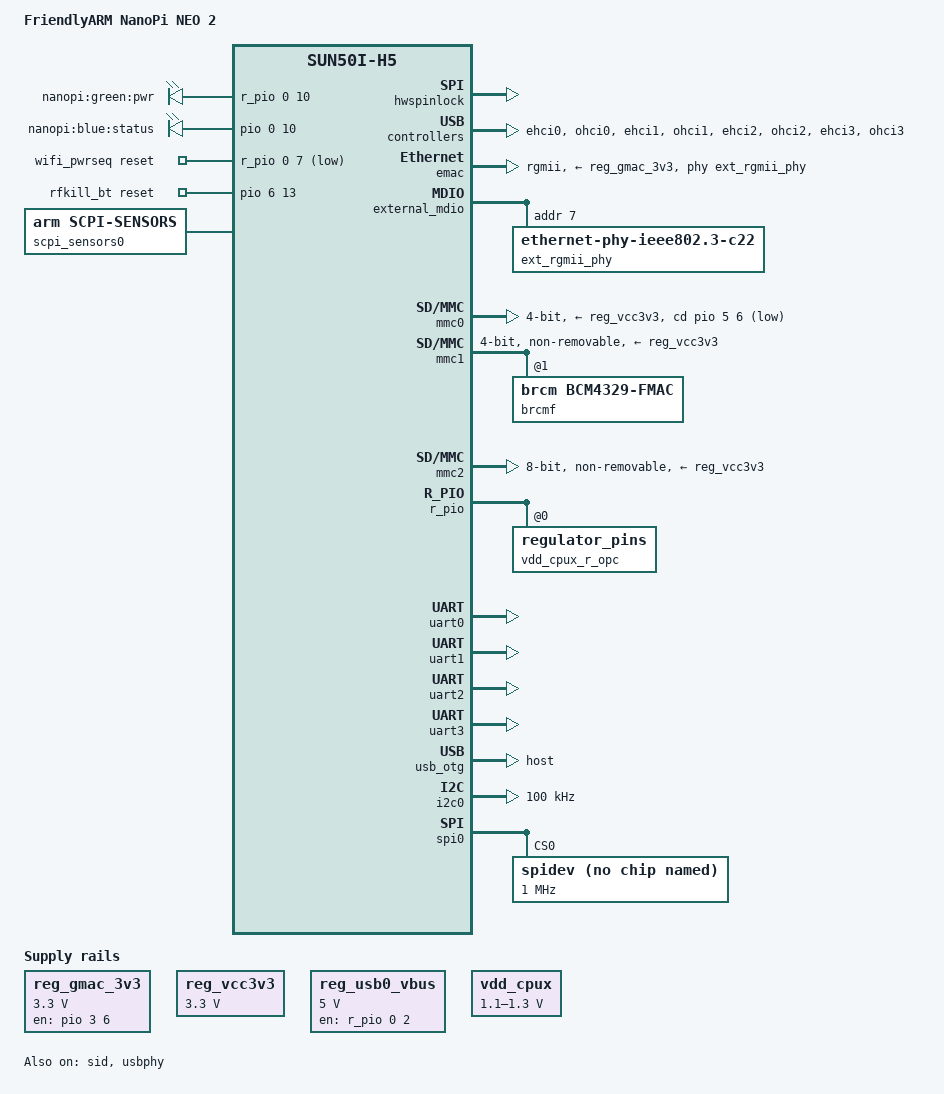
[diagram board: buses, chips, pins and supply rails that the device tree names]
/*
 * Copyright (C) 2017 Icenowy Zheng <icenowy@aosc.io>
 *
 * This file is dual-licensed: you can use it either under the terms
 * of the GPL or the X11 license, at your option. Note that this dual
 * licensing only applies to this file, and not this project as a
 * whole.
 *
 *  a) This file is free software; you can redistribute it and/or
 *     modify it under the terms of the GNU General Public License as
 *     published by the Free Software Foundation; either version 2 of the
 *     License, or (at your option) any later version.
 *
 *     This file is distributed in the hope that it will be useful,
 *     but WITHOUT ANY WARRANTY; without even the implied warranty of
 *     MERCHANTABILITY or FITNESS FOR A PARTICULAR PURPOSE.  See the
 *     GNU General Public License for more details.
 *
 * Or, alternatively,
 *
 *  b) Permission is hereby granted, free of charge, to any person
 *     obtaining a copy of this software and associated documentation
 *     files (the "Software"), to deal in the Software without
 *     restriction, including without limitation the rights to use,
 *     copy, modify, merge, publish, distribute, sublicense, and/or
 *     sell copies of the Software, and to permit persons to whom the
 *     Software is furnished to do so, subject to the following
 *     conditions:
 *
 *     The above copyright notice and this permission notice shall be
 *     included in all copies or substantial portions of the Software.
 *
 *     THE SOFTWARE IS PROVIDED "AS IS", WITHOUT WARRANTY OF ANY KIND,
 *     EXPRESS OR IMPLIED, INCLUDING BUT NOT LIMITED TO THE WARRANTIES
 *     OF MERCHANTABILITY, FITNESS FOR A PARTICULAR PURPOSE AND
 *     NONINFRINGEMENT. IN NO EVENT SHALL THE AUTHORS OR COPYRIGHT
 *     HOLDERS BE LIABLE FOR ANY CLAIM, DAMAGES OR OTHER LIABILITY,
 *     WHETHER IN AN ACTION OF CONTRACT, TORT OR OTHERWISE, ARISING
 *     FROM, OUT OF OR IN CONNECTION WITH THE SOFTWARE OR THE USE OR
 *     OTHER DEALINGS IN THE SOFTWARE.
 */

/dts-v1/;
#include "sun50i-h5.dtsi"

#include <dt-bindings/gpio/gpio.h>
#include <dt-bindings/input/input.h>
#include <dt-bindings/thermal/thermal.h>

/ {
	model = "FriendlyARM NanoPi NEO 2";
	compatible = "friendlyarm,nanopi-neo2", "allwinner,sun50i-h5";

	aliases {
		ethernet0 = &emac;
		serial0 = &uart0;
		serial2 = &uart2;
                serial3 = &uart3;
		i2c0 = &i2c0;
                spi0 = &spi0;
		mmc0 = &mmc0;
		mmc1 = &mmc1;
                mmc2 = &mmc2;
	};

	cpu_opp_table: opp_table {
                compatible = "operating-points-v2";
                opp-shared;

                opp@408000000 {
                        opp-hz = /bits/ 64 <408000000>;
                        opp-microvolt = <1100000>;
                        clock-latency-ns = <244144>; /* 8 32k periods */
                };

                opp@648000000 {
                        opp-hz = /bits/ 64 <648000000>;
                        opp-microvolt = <1100000>;
                        clock-latency-ns = <244144>; /* 8 32k periods */
                };

                opp@816000000 {
                        opp-hz = /bits/ 64 <816000000>;
                        opp-microvolt = <1100000>;
                        clock-latency-ns = <244144>; /* 8 32k periods */
                };

                opp@912000000 {
                       opp-hz = /bits/ 64 <912000000>;
                       opp-microvolt = <1100000>;
                       clock-latency-ns = <244144>; /* 8 32k periods */
                };

                opp@960000000 {
                       opp-hz = /bits/ 64 <960000000>;
                       opp-microvolt = <1100000>;
                       clock-latency-ns = <244144>; /* 8 32k periods */
                };

                opp@1008000000 {
                       opp-hz = /bits/ 64 <1008000000>;
                       opp-microvolt = <1100000>;
                       clock-latency-ns = <244144>; /* 8 32k periods */
                };

		opp@1056000000 {
                       opp-hz = /bits/ 64 <1056000000>;
                       opp-microvolt = <1300000>;
                       clock-latency-ns = <244144>; /* 8 32k periods */
                };

                opp@1104000000 {
                       opp-hz = /bits/ 64 <1104000000>;
                       opp-microvolt = <1300000>;
                       clock-latency-ns = <244144>; /* 8 32k periods */
                };

                opp@1152000000 {
                       opp-hz = /bits/ 64 <1152000000>;
                       opp-microvolt = <1300000>;
                       clock-latency-ns = <244144>; /* 8 32k periods */
                };

		opp@1200000000 {
                       opp-hz = /bits/ 64 <1200000000>;
                       opp-microvolt = <1300000>;
                       clock-latency-ns = <244144>; /* 8 32k periods */
                };

        };

	chosen {
		stdout-path = "serial0:115200n8";
	};

	leds {
		compatible = "gpio-leds";

		pwr {
			label = "nanopi:green:pwr";
			gpios = <&r_pio 0 10 GPIO_ACTIVE_HIGH>;
			default-state = "on";
		};

		status {
			label = "nanopi:blue:status";
			gpios = <&pio 0 10 GPIO_ACTIVE_HIGH>;
			linux,default-trigger = "heartbeat";
		};
	};

	hwprnd: hwprnd@0 {
                compatible = "crypto-api-prng";
                cra_driver_name="sun8i_ce_rng";
        };

	reg_gmac_3v3: gmac-3v3 {
		compatible = "regulator-fixed";
		regulator-name = "gmac-3v3";
		regulator-min-microvolt = <3300000>;
		regulator-max-microvolt = <3300000>;
		startup-delay-us = <100000>;
		enable-active-high;
		gpio = <&pio 3 6 GPIO_ACTIVE_HIGH>;
	};

	reg_vcc3v3: vcc3v3 {
		compatible = "regulator-fixed";
		regulator-name = "vcc3v3";
		regulator-min-microvolt = <3300000>;
		regulator-max-microvolt = <3300000>;
	};

	reg_usb0_vbus: usb0-vbus {
		compatible = "regulator-fixed";
		regulator-name = "usb0-vbus";
		regulator-min-microvolt = <5000000>;
		regulator-max-microvolt = <5000000>;
		enable-active-high;
		gpio = <&r_pio 0 2 GPIO_ACTIVE_HIGH>; /* PL2 */
		status = "okay";
	};

	wifi_pwrseq: wifi_pwrseq {
                compatible = "mmc-pwrseq-simple";
                pinctrl-names = "default";
                reset-gpios = <&r_pio 0 7 GPIO_ACTIVE_LOW>; /* PL7 */
                post-power-on-delay-ms = <200>;
        };

	rfkill_bt {
                compatible = "rfkill-gpio";
                pinctrl-names = "default";
                pinctrl-0 = <&bt_pwr_pin>;
                reset-gpios = <&pio 6 13 GPIO_ACTIVE_HIGH>; /* PG13 */
                clocks = <&osc32k>;
                clock-frequency = <32768>;
                rfkill-name = "sunxi-bt";
                rfkill-type = "bluetooth";
        };

	vdd_cpux: vdd_cpux_regulator {
                compatible = "regulator-gpio";

                pinctrl-names = "default";
                pinctrl-0 = <&vdd_cpux_r_opc>;

                regulator-name = "vdd-cpux";
                regulator-type = "voltage";
                regulator-boot-on;
                regulator-always-on;
                regulator-min-microvolt = <1100000>;
                regulator-max-microvolt = <1300000>;
                regulator-ramp-delay = <50>; /* 4ms */

                gpios = <&r_pio 0 6 GPIO_ACTIVE_HIGH>;
                gpios-states = <0x1>;
                states = <1100000 0x0
                          1300000 0x1>;
        };

	mailbox0: mbox@0 {
                compatible = "arm,smc-mbox";
                #mbox-cells = <1>;
                arm,smc-func-ids = <0x82000001>, <0x82000002>;
                method = "smc";
        };

        sram: sram@10000{
                compatible = "mmio-sram";
                reg = <0x10000 0x8000>;

                #address-cells = <1>;
                #size-cells = <1>;
                ranges = <0 0x10000 0x8000>;

                cpu_scp_mem: scp-shmem@7e00 {
                        compatible = "mmio-sram";
                        reg = <0x7e00 0x200>;
			export;
	        };
	};

        scpi_sensors0: sensors {
		compatible = "arm,scpi-sensors";
		clocks = <&ccu CLK_BUS_THS>, <&ccu CLK_THS>;
		clock-names = "bus", "mod";
                #thermal-sensor-cells = <1>;
        };

        scpi {
                compatible = "arm,scpi";
                mboxes = <&mailbox0 0>;
                shmem = <&cpu_scp_mem>;
        };

	thermal-zones {
		cpu_thermal: cpu_thermal {
			polling-delay-passive = <250>;
		        polling-delay = <1000>;
			thermal-sensors = <&scpi_sensors0 0>;

			trips {
	                        cpu_warm: cpu_warm {
					temperature = <65000>;
					hysteresis = <2000>;
					type = "passive";
	                        };

	                        cpu_hot_pre: cpu_hot_pre {
	                                temperature = <70000>;
	                                hysteresis = <2000>;
	                                type = "passive";
	                        };

	                        cpu_hot: cpu_hot {
	                                temperature = <75000>;
	                                hysteresis = <2000>;
	                                type = "passive";
	                        };

	                        cpu_very_hot_pre: cpu_very_hot_pre {
	                                temperature = <80000>;
	                                hysteresis = <2000>;
	                                type = "passive";
	                        };

	                        cpu_very_hot: cpu_very_hot {
	                                temperature = <90000>;
	                                hysteresis = <2000>;
	                                type = "passive";
	                        };

				cpu_crit_pre: cpu_crit_pre {
                                        temperature = <95000>;
                                        hysteresis = <2000>;
                                        type = "hot";
                                };

	                        cpu_crit: cpu_crit {
	                                temperature = <100000>;
	                                hysteresis = <2000>;
	                                type = "critical";
	                        };
			};

			cooling-maps {
				cpu_warm_limit_cpu {
					trip = <&cpu_warm>;
	                                cooling-device = <&cpu0 THERMAL_NO_LIMIT 1>;
				};

	                        cpu_hot_pre_limit_cpu {
	                                trip = <&cpu_hot_pre>;
	                                cooling-device = <&cpu0 2 4>;
	                        };

	                        cpu_hot_limit_cpu {
	                                trip = <&cpu_hot>;
	                                cooling-device = <&cpu0 5 6>;
	                        };

	                        cpu_very_hot_pre_limit_cpu {
	                                 trip = <&cpu_very_hot>;
	                                 cooling-device = <&cpu0 7 8>;
	                        };

	                        cpu_very_hot_limit_cpu {
	                                 trip = <&cpu_very_hot>;
	                                 cooling-device = <&cpu0 9 THERMAL_NO_LIMIT>;
	                        };
			};
		};

		gpu_therm: gpu_thermal {
                        polling-delay-passive = <330>;
                        polling-delay = <1000>;
                        thermal-sensors = <&scpi_sensors0 1>;
                };
	};
};

&soc {
        hwspinlock: hwspinlock@1c18000 {
                compatible = "allwinner,sun8i-hwspinlock";
                reg = <0x01c18000 0x400>;
                resets = <&ccu RST_BUS_SPINLOCK>;
                reset-names = "ahb";
                clocks = <&ccu CLK_BUS_SPINLOCK>;
                clock-names = "ahb";
                status = "okay";
        };
};

&cpus {
        A53_L2: l2-cache0 {
                compatible = "cache";
         };
};

&cpu0 {
	operating-points-v2 = <&cpu_opp_table>;
        cpu-supply = <&vdd_cpux>;
	next-level-cache = <&A53_L2>;
        #cooling-cells = <2>;
};

&cpu1 {
	operating-points-v2 = <&cpu_opp_table>;
	cpu-supply = <&vdd_cpux>;
	next-level-cache = <&A53_L2>;
};

&cpu2 {
        operating-points-v2 = <&cpu_opp_table>;
	cpu-supply = <&vdd_cpux>;
	next-level-cache = <&A53_L2>;
};

&cpu3 {
        operating-points-v2 = <&cpu_opp_table>;
	cpu-supply = <&vdd_cpux>;
	next-level-cache = <&A53_L2>;
};

&sid {
        compatible = "allwinner,sun50i-a64-sid";
        status = "okay";
};

&ehci0 {
        status = "okay";
};

&ohci0 {
        status = "okay";
};

&ehci1 {
        status = "okay";
};

&ohci1 {
        status = "okay";
};

&ehci2 {
        status = "okay";
};

&ohci2 {
        status = "okay";
};

&ehci3 {
        status = "okay";
};

&ohci3 {
        status = "okay";
};

&emac {
	pinctrl-names = "default";
	pinctrl-0 = <&emac_rgmii_pins>;
	phy-supply = <&reg_gmac_3v3>;
	phy-handle = <&ext_rgmii_phy>;
	phy-mode = "rgmii";
	status = "okay";
};

&external_mdio {
        ext_rgmii_phy: ethernet-phy@7 {
                compatible = "ethernet-phy-ieee802.3-c22";
                reg = <7>;
        };
};

&mmc0 {
	pinctrl-names = "default";
	pinctrl-0 = <&mmc0_pins_a>, <&mmc0_cd_pin>;
	vmmc-supply = <&reg_vcc3v3>;
	bus-width = <4>;
	disable-wp;
	cd-gpios = <&pio 5 6 GPIO_ACTIVE_LOW>; /* PF6 */
	status = "okay";
};

&mmc1 {
        pinctrl-names = "default";
        pinctrl-0 = <&mmc1_pins_a>;
        vmmc-supply = <&reg_vcc3v3>;
        vqmmc-supply = <&reg_vcc3v3>;
        mmc-pwrseq = <&wifi_pwrseq>;
        bus-width = <4>;
        non-removable;
        no-sd;
        no-mmc;
        status = "okay";

        brcmf: wifi@1 {
                reg = <1>;
                compatible = "brcm,bcm4329-fmac";
        };
};

&mmc2 {
        pinctrl-names = "default";
        pinctrl-0 = <&mmc2_8bit_pins>;
        vmmc-supply = <&reg_vcc3v3>;
        bus-width = <8>;
        non-removable;
        no-sd;
        no-sdio;
        cap-mmc-hw-reset;
        status = "okay";
};

&pio {
        bt_pwr_pin: bt_pwr_pin@0 {
                pins = "PG13";
                function = "gpio_out";
        };
};

&r_pio {
        vdd_cpux_r_opc: regulator_pins@0 {
                pins = "PL6";
                function = "gpio_out";
        };
};

&uart0 {
	pinctrl-names = "default";
	pinctrl-0 = <&uart0_pins_a>;
	status = "okay";
};

&uart1 {
        pinctrl-names = "default";
        pinctrl-0 = <&uart1_pins>;
        status = "okay";
};

&uart2 {
        pinctrl-names = "default";
        pinctrl-0 = <&uart2_pins>, <&uart2_rts_cts_pins>;
        status = "okay";
};

&uart3 {
        pinctrl-names = "default";
        pinctrl-0 = <&uart3_pins>, <&uart3_rts_cts_pins>;
        status = "okay";
};

&usb_otg {
	dr_mode = "host";
	status = "okay";
};

&usbphy {
	/* USB Type-A port's VBUS is always on */
	usb0_id_det-gpios = <&pio 6 12 GPIO_ACTIVE_HIGH>; /* PG12 */
	usb0_vbus-supply = <&reg_usb0_vbus>;
	usb1_vbus-supply = <&reg_usb0_vbus>;
	usb2_vbus-supply = <&reg_usb0_vbus>;
	usb3_vbus-supply = <&reg_usb0_vbus>;
	status = "okay";
};

&i2c0_pins {
	bias-pull-up;
	drive-strength = <30>;
};

&i2c0 {
	clock-frequency = <100000>;
        status = "okay";
};

&spi0 {
        #address-cells = <1>;
        #size-cells = <0>;
        spi-max-frequency = <1000000>;
        pinctrl-0 = <&spi0_pins>;
        status = "okay";

        spidev {
                compatible = "spidev";
                status = "okay";
                reg = <0>;
                spi-max-frequency = <1000000>;
        };
};

&hwspinlock {
        status = "okay";
};
